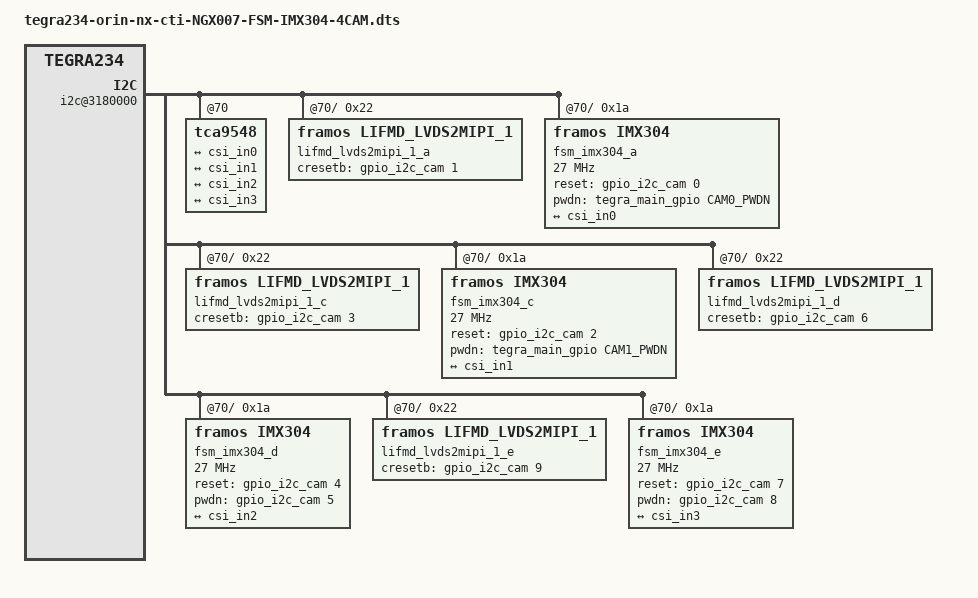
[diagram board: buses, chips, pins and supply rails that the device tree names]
/*
 * Copyright (c) 2023, Connect Tech Inc.  All rights reserved.
 *
 * This program is free software; you can redistribute it and/or modify it
 * under the terms and conditions of the GNU General Public License,
 * version 2, as published by the Free Software Foundation.
 *
 * This program is distributed in the hope it will be useful, but WITHOUT
 * ANY WARRANTY; without even the implied warranty of MERCHANTABILITY or
 * FITNESS FOR A PARTICULAR PURPOSE.  See the GNU General Public License for
 * more details.
 *
 * You should have received a copy of the GNU General Public License
 * along with this program.  If not, see <http://www.gnu.org/licenses/>.
 */

#include "tegra234-orin-nx-cti-NGX007.dts"
//#include "../cti_camera/tegra234-orin-nx-cti-NGX007-FSM-2CAM-base.dtsi"
#include "tegra234-orin-nx-cti-NGX007-FSM-4CAM-base.dtsi"


#include "dt-bindings/clock/tegra234-clock.h"


/ {
		nvidia,dtsfilename = "tegra234-orin-nx-cti-NGX007-FSM-IMX304-4CAM.dts";
		
	i2c@3180000 {
		tca9548@70 {
			status = "okay";	
			i2c@0 {
					status = "okay";
					// lvds firmware 
					lifmd_lvds2mipi_1_a: lifmd_lvds2mipi_1_a@22 {
						compatible = "framos,lifmd_lvds2mipi_1";
						reg = <0x22>;
						device = "lifmd_lvds2mipi_1";
						cresetb = <&gpio_i2c_cam 1 GPIO_ACTIVE_HIGH>;
					};
					fsm_imx304_a@1a{
								status = "okay";
								reg = <0x1a>;
								compatible = "framos,imx304";
								
								/* Define any required hw resources needed by driver */
								/* ie. clocks, io pins, power sources */
								clocks = <&bpmp_clks TEGRA234_CLK_EXTPERIPH1>,
											<&bpmp_clks TEGRA234_CLK_EXTPERIPH1>;
								clock-names = "extperiph1", "pllp_grtba";
								mclk = "extperiph1";
								clock-frequency = <27000000>;
								lifmd_lvds2mipi_1-device = <&lifmd_lvds2mipi_1_a>;
								
								reset-gpios = <&gpio_i2c_cam 0 GPIO_ACTIVE_HIGH>;
								pwdn-gpios = <&tegra_main_gpio CAM0_PWDN GPIO_ACTIVE_HIGH>;
								
								//vana-supply = <&p3737_avdd_cam_2v8>;
								//vif-supply = <&vdd_1v8_sys>;

								devnode = "video0";

								physical_w = "15.00";
								physical_h = "12.50";

								sensor_model ="imx304";	

								//avdd-reg = "vana";
								//iovdd-reg = "vif"; 
								
								post_crop_frame_drop = "0";
								use_decibel_gain = "true";
								delayed_gain = "false";
								use_sensor_mode_id = "false";

								mode0 { //
									mclk_khz = "37125";
									num_lanes = "2";
									tegra_sinterface = "serial_a";
									phy_mode = "DPHY";
									discontinuous_clk = "no";
									dpcm_enable = "false";
									cil_settletime = "0";
									active_w = "4112";
									active_h = "3008";

									lane_polarity = "6";
									
									dynamic_pixel_bit_depth = "12";
									csi_pixel_bit_depth = "12";
									mode_type = "bayer";
									pixel_phase = "rggb";

									readout_orientation = "0";
									line_length = "4112";
									inherent_gain = "1";
									pix_clk_hz = "475200000";

									gain_factor = "10";
									min_gain_val = "0"; /* 0dB */
									max_gain_val = "480"; /* 48dB */
									step_gain_val = "1"; /* 0.1 */
									default_gain = "0";
									min_hdr_ratio = "1";
									max_hdr_ratio = "64";
									framerate_factor = "1000000";
									min_framerate = "1500000"; /* 1.5 */
									max_framerate = "24000000"; /* 24 */
									step_framerate = "1";
									default_framerate= "24000000";
									exposure_factor = "1000000";
									min_exp_time = "28"; /* us */
									max_exp_time = "660000"; /* us */
									step_exp_time = "1";
									default_exp_time = "27879";/* us */
									embedded_metadata_height = "0";
								};
								mode1 { //
									mclk_khz = "37125";
									num_lanes = "2";
									tegra_sinterface = "serial_a";
									phy_mode = "DPHY";
									discontinuous_clk = "no";
									dpcm_enable = "false";
									cil_settletime = "0";
									active_w = "4096";
									active_h = "2160";
									
									lane_polarity = "6";

									dynamic_pixel_bit_depth = "12";
									csi_pixel_bit_depth = "12";
									mode_type = "bayer";
									pixel_phase = "rggb";

									readout_orientation = "0";
									line_length = "4096";
									inherent_gain = "1";
									pix_clk_hz = "475200000";

									gain_factor = "10";
									min_gain_val = "0"; /* 0dB */
									max_gain_val = "480"; /* 48dB */
									step_gain_val = "1"; /* 0.1 */
									default_gain = "0";
									min_hdr_ratio = "1";
									max_hdr_ratio = "64";
									framerate_factor = "1000000";
									min_framerate = "1500000"; /* 1.5 */
									max_framerate = "31000000"; /* 31 */
									step_framerate = "1";
									default_framerate= "30000000";
									exposure_factor = "1000000";
									min_exp_time = "28"; /* us */
									max_exp_time = "660000"; /* us */
									step_exp_time = "1";
									default_exp_time = "20906";/* us */
									embedded_metadata_height = "0";
								};
								mode2 { //
									mclk_khz = "37125";
									num_lanes = "2";
									tegra_sinterface = "serial_a";
									phy_mode = "DPHY";
									discontinuous_clk = "no";
									dpcm_enable = "false";
									cil_settletime = "0";
									active_w = "3840";
									active_h = "2160";

									lane_polarity = "6";

									dynamic_pixel_bit_depth = "12";
									csi_pixel_bit_depth = "12";
									mode_type = "bayer";
									pixel_phase = "rggb";

									readout_orientation = "0";
									line_length = "3840";
									inherent_gain = "1";
									pix_clk_hz = "475200000";

									gain_factor = "10";
									min_gain_val = "0"; /* 0dB */
									max_gain_val = "480"; /* 48dB */
									step_gain_val = "1"; /* 0.1 */
									default_gain = "0";
									min_hdr_ratio = "1";
									max_hdr_ratio = "64";
									framerate_factor = "1000000";
									min_framerate = "1500000"; /* 1.5 */
									max_framerate = "31000000"; /* 31 */
									step_framerate = "1";
									default_framerate= "30000000";
									exposure_factor = "1000000";
									min_exp_time = "28"; /* us */
									max_exp_time = "660000"; /* us */
									step_exp_time = "1";
									default_exp_time = "10000";/* us */
									embedded_metadata_height = "0";
								};
								ports {
									#address-cells = <1>;
									#size-cells = <0>;

									port@0 {
										reg = <0>;
										vi_out0: endpoint {
											port-index = <0>;
											bus-width = <2>;
											remote-endpoint = <&csi_in0>;
										};
									};
								};
					};
			};
			i2c@1 {
				status = "okay";
				// lvds firmware 
				lifmd_lvds2mipi_1_c: lifmd_lvds2mipi_1_c@22 {
					compatible = "framos,lifmd_lvds2mipi_1";
					reg = <0x22>;
					device = "lifmd_lvds2mipi_1";
					cresetb = <&gpio_i2c_cam 3 GPIO_ACTIVE_HIGH>;
				};
				fsm_imx304_c@1a {
					compatible = "framos,imx304";
					reg = <0x1a>;
					/* Define any required hw resources needed by driver */
					/* ie. clocks, io pins, power sources */
					clocks = <&bpmp_clks TEGRA234_CLK_EXTPERIPH1>,
								<&bpmp_clks TEGRA234_CLK_EXTPERIPH1>;
					clock-names = "extperiph1", "pllp_grtba";
					mclk = "extperiph1";
					clock-frequency = <27000000>;
					lifmd_lvds2mipi_1-device = <&lifmd_lvds2mipi_1_c>;
					
					reset-gpios = <&gpio_i2c_cam 2 GPIO_ACTIVE_HIGH>;
					pwdn-gpios = <&tegra_main_gpio CAM1_PWDN GPIO_ACTIVE_HIGH>;
					
					//vana-supply = <&p3737_avdd_cam_2v8>;
					//vif-supply = <&vdd_1v8_sys>;

					devnode = "video1";

					physical_w = "15.00";
					physical_h = "12.50";

					sensor_model ="imx304";	

					//avdd-reg = "vana";
					//iovdd-reg = "vif"; 
					
					post_crop_frame_drop = "0";
					use_decibel_gain = "true";
					delayed_gain = "false";
					use_sensor_mode_id = "false";

					mode0 { //
						mclk_khz = "37125";
						num_lanes = "2";
						tegra_sinterface = "serial_c";
						phy_mode = "DPHY";
						discontinuous_clk = "no";
						dpcm_enable = "false";
						cil_settletime = "0";
						active_w = "4112";
						active_h = "3008";

						lane_polarity = "0";
						
						dynamic_pixel_bit_depth = "12";
						csi_pixel_bit_depth = "12";
						mode_type = "bayer";
						pixel_phase = "rggb";

						readout_orientation = "0";
						line_length = "4112";
						inherent_gain = "1";
						pix_clk_hz = "475200000";

						gain_factor = "10";
						min_gain_val = "0"; /* 0dB */
						max_gain_val = "480"; /* 48dB */
						step_gain_val = "1"; /* 0.1 */
						default_gain = "0";
						min_hdr_ratio = "1";
						max_hdr_ratio = "64";
						framerate_factor = "1000000";
						min_framerate = "1500000"; /* 1.5 */
						max_framerate = "24000000"; /* 24 */
						step_framerate = "1";
						default_framerate= "24000000";
						exposure_factor = "1000000";
						min_exp_time = "28"; /* us */
						max_exp_time = "660000"; /* us */
						step_exp_time = "1";
						default_exp_time = "27879";/* us */
						embedded_metadata_height = "0";
					};
					mode1 { //
						mclk_khz = "37125";
						num_lanes = "2";
						tegra_sinterface = "serial_c";
						phy_mode = "DPHY";
						discontinuous_clk = "no";
						dpcm_enable = "false";
						cil_settletime = "0";
						active_w = "4096";
						active_h = "2160";
						
						lane_polarity = "0";

						dynamic_pixel_bit_depth = "12";
						csi_pixel_bit_depth = "12";
						mode_type = "bayer";
						pixel_phase = "rggb";

						readout_orientation = "0";
						line_length = "4096";
						inherent_gain = "1";
						pix_clk_hz = "475200000";

						gain_factor = "10";
						min_gain_val = "0"; /* 0dB */
						max_gain_val = "480"; /* 48dB */
						step_gain_val = "1"; /* 0.1 */
						default_gain = "0";
						min_hdr_ratio = "1";
						max_hdr_ratio = "64";
						framerate_factor = "1000000";
						min_framerate = "1500000"; /* 1.5 */
						max_framerate = "31000000"; /* 31 */
						step_framerate = "1";
						default_framerate= "30000000";
						exposure_factor = "1000000";
						min_exp_time = "28"; /* us */
						max_exp_time = "660000"; /* us */
						step_exp_time = "1";
						default_exp_time = "20906";/* us */
						embedded_metadata_height = "0";
					};
					mode2 { //
						mclk_khz = "37125";
						num_lanes = "2";
						tegra_sinterface = "serial_c";
						phy_mode = "DPHY";
						discontinuous_clk = "no";
						dpcm_enable = "false";
						cil_settletime = "0";
						active_w = "3840";
						active_h = "2160";

						lane_polarity = "0";

						dynamic_pixel_bit_depth = "12";
						csi_pixel_bit_depth = "12";
						mode_type = "bayer";
						pixel_phase = "rggb";

						readout_orientation = "0";
						line_length = "3840";
						inherent_gain = "1";
						pix_clk_hz = "475200000";

						gain_factor = "10";
						min_gain_val = "0"; /* 0dB */
						max_gain_val = "480"; /* 48dB */
						step_gain_val = "1"; /* 0.1 */
						default_gain = "0";
						min_hdr_ratio = "1";
						max_hdr_ratio = "64";
						framerate_factor = "1000000";
						min_framerate = "1500000"; /* 1.5 */
						max_framerate = "31000000"; /* 31 */
						step_framerate = "1";
						default_framerate= "30000000";
						exposure_factor = "1000000";
						min_exp_time = "28"; /* us */
						max_exp_time = "660000"; /* us */
						step_exp_time = "1";
						default_exp_time = "10000";/* us */
						embedded_metadata_height = "0";
					};
					ports {
						#address-cells = <1>;
						#size-cells = <0>;

						port@0 {
							reg = <0>;
							vi_out1: endpoint {
								port-index = <2>;
								bus-width = <2>;
								remote-endpoint = <&csi_in1>;
							};
						};
					};
				};
				
			};
			i2c@2 {
				status = "okay";
				// lvds firmware 
				lifmd_lvds2mipi_1_d: lifmd_lvds2mipi_1_d@22 {
					compatible = "framos,lifmd_lvds2mipi_1";
					reg = <0x22>;
					device = "lifmd_lvds2mipi_1";
					cresetb = <&gpio_i2c_cam 6 GPIO_ACTIVE_HIGH>;
				};
				fsm_imx304_d@1a {
					compatible = "framos,imx304";
					reg = <0x1a>;
					clocks = <&bpmp_clks TEGRA234_CLK_EXTPERIPH1>,
								<&bpmp_clks TEGRA234_CLK_EXTPERIPH1>;
					clock-names = "extperiph1", "pllp_grtba";
					mclk = "extperiph1";
					clock-frequency = <27000000>;
					lifmd_lvds2mipi_1-device = <&lifmd_lvds2mipi_1_d>;
					
					reset-gpios = <&gpio_i2c_cam 4 GPIO_ACTIVE_HIGH>;
					pwdn-gpios = <&gpio_i2c_cam 5 GPIO_ACTIVE_HIGH>;
					
					//vana-supply = <&p3737_avdd_cam_2v8>;
					//vif-supply = <&vdd_1v8_sys>;

					devnode = "video2";

					physical_w = "15.00";
					physical_h = "12.50";

					sensor_model ="imx304";	

					//avdd-reg = "vana";
					//iovdd-reg = "vif"; 
					
					post_crop_frame_drop = "0";
					use_decibel_gain = "true";
					delayed_gain = "false";
					use_sensor_mode_id = "false";

					mode0 { //
						mclk_khz = "37125";
						num_lanes = "2";
						tegra_sinterface = "serial_d";
						phy_mode = "DPHY";
						discontinuous_clk = "no";
						dpcm_enable = "false";
						cil_settletime = "0";
						active_w = "4112";
						active_h = "3008";

						lane_polarity = "0";
						
						dynamic_pixel_bit_depth = "12";
						csi_pixel_bit_depth = "12";
						mode_type = "bayer";
						pixel_phase = "rggb";

						readout_orientation = "0";
						line_length = "4112";
						inherent_gain = "1";
						pix_clk_hz = "475200000";

						gain_factor = "10";
						min_gain_val = "0"; /* 0dB */
						max_gain_val = "480"; /* 48dB */
						step_gain_val = "1"; /* 0.1 */
						default_gain = "0";
						min_hdr_ratio = "1";
						max_hdr_ratio = "64";
						framerate_factor = "1000000";
						min_framerate = "1500000"; /* 1.5 */
						max_framerate = "24000000"; /* 24 */
						step_framerate = "1";
						default_framerate= "24000000";
						exposure_factor = "1000000";
						min_exp_time = "28"; /* us */
						max_exp_time = "660000"; /* us */
						step_exp_time = "1";
						default_exp_time = "27879";/* us */
						embedded_metadata_height = "0";
					};
					mode1 { //
						mclk_khz = "37125";
						num_lanes = "2";
						tegra_sinterface = "serial_d";
						phy_mode = "DPHY";
						discontinuous_clk = "no";
						dpcm_enable = "false";
						cil_settletime = "0";
						active_w = "4096";
						active_h = "2160";
						
						lane_polarity = "0";

						dynamic_pixel_bit_depth = "12";
						csi_pixel_bit_depth = "12";
						mode_type = "bayer";
						pixel_phase = "rggb";

						readout_orientation = "0";
						line_length = "4096";
						inherent_gain = "1";
						pix_clk_hz = "475200000";

						gain_factor = "10";
						min_gain_val = "0"; /* 0dB */
						max_gain_val = "480"; /* 48dB */
						step_gain_val = "1"; /* 0.1 */
						default_gain = "0";
						min_hdr_ratio = "1";
						max_hdr_ratio = "64";
						framerate_factor = "1000000";
						min_framerate = "1500000"; /* 1.5 */
						max_framerate = "31000000"; /* 31 */
						step_framerate = "1";
						default_framerate= "30000000";
						exposure_factor = "1000000";
						min_exp_time = "28"; /* us */
						max_exp_time = "660000"; /* us */
						step_exp_time = "1";
						default_exp_time = "20906";/* us */
						embedded_metadata_height = "0";
					};
					mode2 { //
						mclk_khz = "37125";
						num_lanes = "2";
						tegra_sinterface = "serial_d";
						phy_mode = "DPHY";
						discontinuous_clk = "no";
						dpcm_enable = "false";
						cil_settletime = "0";
						active_w = "3840";
						active_h = "2160";

						lane_polarity = "0";

						dynamic_pixel_bit_depth = "12";
						csi_pixel_bit_depth = "12";
						mode_type = "bayer";
						pixel_phase = "rggb";

						readout_orientation = "0";
						line_length = "3840";
						inherent_gain = "1";
						pix_clk_hz = "475200000";

						gain_factor = "10";
						min_gain_val = "0"; /* 0dB */
						max_gain_val = "480"; /* 48dB */
						step_gain_val = "1"; /* 0.1 */
						default_gain = "0";
						min_hdr_ratio = "1";
						max_hdr_ratio = "64";
						framerate_factor = "1000000";
						min_framerate = "1500000"; /* 1.5 */
						max_framerate = "31000000"; /* 31 */
						step_framerate = "1";
						default_framerate= "30000000";
						exposure_factor = "1000000";
						min_exp_time = "28"; /* us */
						max_exp_time = "660000"; /* us */
						step_exp_time = "1";
						default_exp_time = "10000";/* us */
						embedded_metadata_height = "0";
					};
					ports {
						#address-cells = <1>;
						#size-cells = <0>;

						port@0 {
							reg = <0>;
							vi_out2: endpoint {
								port-index = <3>;
								bus-width = <2>;
								remote-endpoint = <&csi_in2>;
							};
						};
					};
				};
				
			};
			i2c@3 {
				status = "okay";
				// lvds firmware 
				lifmd_lvds2mipi_1_e: lifmd_lvds2mipi_1_e@22 {
					compatible = "framos,lifmd_lvds2mipi_1";
					reg = <0x22>;
					device = "lifmd_lvds2mipi_1";
					cresetb = <&gpio_i2c_cam 9 GPIO_ACTIVE_HIGH>;
				};
				fsm_imx304_e@1a {
					compatible = "framos,imx304";
					reg = <0x1a>;
					/* Define any required hw resources needed by driver */
					/* ie. clocks, io pins, power sources */
					clocks = <&bpmp_clks TEGRA234_CLK_EXTPERIPH1>,
								<&bpmp_clks TEGRA234_CLK_EXTPERIPH1>;
					clock-names = "extperiph1", "pllp_grtba";
					mclk = "extperiph1";
					clock-frequency = <27000000>;
					lifmd_lvds2mipi_1-device = <&lifmd_lvds2mipi_1_e>;
					
					reset-gpios = <&gpio_i2c_cam 7 GPIO_ACTIVE_HIGH>;
					pwdn-gpios = <&gpio_i2c_cam 8 GPIO_ACTIVE_HIGH>;
					
					//vana-supply = <&p3737_avdd_cam_2v8>;
					//vif-supply = <&vdd_1v8_sys>;

					devnode = "video3";

					physical_w = "15.00";
					physical_h = "12.50";

					sensor_model ="imx304";	

					//avdd-reg = "vana";
					//iovdd-reg = "vif"; 
					
					post_crop_frame_drop = "0";
					use_decibel_gain = "true";
					delayed_gain = "false";
					use_sensor_mode_id = "false";

					mode0 { //
						mclk_khz = "37125";
						num_lanes = "2";
						tegra_sinterface = "serial_e";
						phy_mode = "DPHY";
						discontinuous_clk = "no";
						dpcm_enable = "false";
						cil_settletime = "0";
						active_w = "4112";
						active_h = "3008";

						lane_polarity = "0";
						
						dynamic_pixel_bit_depth = "12";
						csi_pixel_bit_depth = "12";
						mode_type = "bayer";
						pixel_phase = "rggb";

						readout_orientation = "0";
						line_length = "4112";
						inherent_gain = "1";
						pix_clk_hz = "475200000";

						gain_factor = "10";
						min_gain_val = "0"; /* 0dB */
						max_gain_val = "480"; /* 48dB */
						step_gain_val = "1"; /* 0.1 */
						default_gain = "0";
						min_hdr_ratio = "1";
						max_hdr_ratio = "64";
						framerate_factor = "1000000";
						min_framerate = "1500000"; /* 1.5 */
						max_framerate = "24000000"; /* 24 */
						step_framerate = "1";
						default_framerate= "24000000";
						exposure_factor = "1000000";
						min_exp_time = "28"; /* us */
						max_exp_time = "660000"; /* us */
						step_exp_time = "1";
						default_exp_time = "27879";/* us */
						embedded_metadata_height = "0";
					};
					mode1 { //
						mclk_khz = "37125";
						num_lanes = "2";
						tegra_sinterface = "serial_e";
						phy_mode = "DPHY";
						discontinuous_clk = "no";
						dpcm_enable = "false";
						cil_settletime = "0";
						active_w = "4096";
						active_h = "2160";
						
						lane_polarity = "0";

						dynamic_pixel_bit_depth = "12";
						csi_pixel_bit_depth = "12";
						mode_type = "bayer";
						pixel_phase = "rggb";

						readout_orientation = "0";
						line_length = "4096";
						inherent_gain = "1";
						pix_clk_hz = "475200000";

						gain_factor = "10";
						min_gain_val = "0"; /* 0dB */
						max_gain_val = "480"; /* 48dB */
						step_gain_val = "1"; /* 0.1 */
						default_gain = "0";
						min_hdr_ratio = "1";
						max_hdr_ratio = "64";
						framerate_factor = "1000000";
						min_framerate = "1500000"; /* 1.5 */
						max_framerate = "31000000"; /* 31 */
						step_framerate = "1";
						default_framerate= "30000000";
						exposure_factor = "1000000";
						min_exp_time = "28"; /* us */
						max_exp_time = "660000"; /* us */
						step_exp_time = "1";
						default_exp_time = "20906";/* us */
						embedded_metadata_height = "0";
					};
					mode2 { //
						mclk_khz = "37125";
						num_lanes = "2";
						tegra_sinterface = "serial_e";
						phy_mode = "DPHY";
						discontinuous_clk = "no";
						dpcm_enable = "false";
						cil_settletime = "0";
						active_w = "3840";
						active_h = "2160";

						lane_polarity = "0";

						dynamic_pixel_bit_depth = "12";
						csi_pixel_bit_depth = "12";
						mode_type = "bayer";
						pixel_phase = "rggb";

						readout_orientation = "0";
						line_length = "3840";
						inherent_gain = "1";
						pix_clk_hz = "475200000";

						gain_factor = "10";
						min_gain_val = "0"; /* 0dB */
						max_gain_val = "480"; /* 48dB */
						step_gain_val = "1"; /* 0.1 */
						default_gain = "0";
						min_hdr_ratio = "1";
						max_hdr_ratio = "64";
						framerate_factor = "1000000";
						min_framerate = "1500000"; /* 1.5 */
						max_framerate = "31000000"; /* 31 */
						step_framerate = "1";
						default_framerate= "30000000";
						exposure_factor = "1000000";
						min_exp_time = "28"; /* us */
						max_exp_time = "660000"; /* us */
						step_exp_time = "1";
						default_exp_time = "10000";/* us */
						embedded_metadata_height = "0";
					};
					ports {
						#address-cells = <1>;
						#size-cells = <0>;

						port@0 {
							reg = <0>;
							vi_out3: endpoint {
								port-index = <4>;
								bus-width = <2>;
								remote-endpoint = <&csi_in3>;
							};
						};
					};
				};
				
			};
						
		};
	};

	tegra-camera-platform {
		modules {
			module0 {
				badge = "imx304_bottomleft";
				position = "bottomleft";
				orientation = "1";
				status = "okay";
				drivernode0 {
					status = "okay";
					pcl_id = "v4l2_sensor";
					devname = "imx304 30-001a";
					proc-device-tree = "/proc/device-tree/i2c@3180000/tca9548@70/i2c@0/fsm_imx304_a@1a";
				};
			};
			module1 {
				badge = "imx304_centerright";
				position = "centerright";
				orientation = "1";
				status = "okay";
				drivernode0 {
					status = "okay";
					pcl_id = "v4l2_sensor";
					devname = "imx304 31-001a";
					proc-device-tree = "/proc/device-tree/i2c@3180000/tca9548@70/i2c@1/fsm_imx304_c@1a";
				};
			};
			module2 {
				badge = "imx304_bottomright";
				position = "bottomright";
				orientation = "1";
				status = "okay";
				drivernode0 {
					status = "okay";
					pcl_id = "v4l2_sensor";
					devname = "imx304 32-001a";
					proc-device-tree = "/proc/device-tree/i2c@3180000/tca9548@70/i2c@2/fsm_imx304_d@1a";
				};
			};
			module3 {
				badge = "imx304_topright";
				position = "topright";
				orientation = "1";
				status = "okay";
				drivernode0 {
					status = "okay";
					pcl_id = "v4l2_sensor";
					devname = "imx304 33-001a";
					proc-device-tree = "/proc/device-tree/i2c@3180000/tca9548@70/i2c@3/fsm_imx304_e@1a";
				};
			};
		};
	};
};
